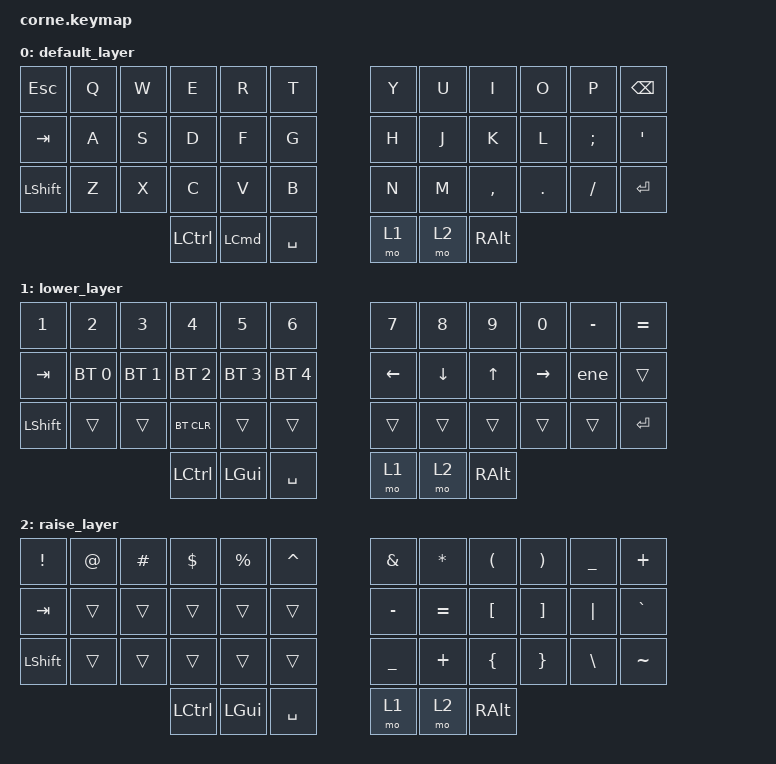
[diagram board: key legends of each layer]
/*
 * Copyright (c) 2020 The ZMK Contributors
 *
 * SPDX-License-Identifier: MIT
 */

#include <behaviors.dtsi>
#include <dt-bindings/zmk/bt.h>
#include <dt-bindings/zmk/keys.h>
#include <dt-bindings/zmk/keys.h>

/ {
    macros {
        ene: ene {
            compatible = "zmk,behavior-macro";
            #binding-cells = <0>;
            bindings =
                <&macro_press>,
                <&kp RIGHT_ALT &kp N &kt RIGHT_ALT &kp N>,
                <&macro_release>;

            label = "ENE";
        };
    };

    keymap {
        compatible = "zmk,keymap";

        default_layer {
            // -----------------------------------------------------------------------------------------
            // |  TAB |  Q  |  W  |  E  |  R  |  T  |   |  Y  |  U   |  I  |  O  |  P  | BSPC |
            // | CTRL |  A  |  S  |  D  |  F  |  G  |   |  H  |  J   |  K  |  L  |  ;  |  '   |
            // | SHFT |  Z  |  X  |  C  |  V  |  B  |   |  N  |  M   |  ,  |  .  |  /  | ESC  |
            //                    | GUI | LWR | SPC |   | ENT | RSE  | ALT |

            bindings = <
&kp ESCAPE  &kp Q  &kp W  &kp E             &kp R             &kp T        &kp Y  &kp U  &kp I      &kp O    &kp P     &kp BSPC
&kp TAB     &kp A  &kp S  &kp D             &kp F             &kp G        &kp H  &kp J  &kp K      &kp L    &kp SEMI  &kp SQT
&kp LSHFT   &kp Z  &kp X  &kp C             &kp V             &kp B        &kp N  &kp M  &kp COMMA  &kp DOT  &kp FSLH  &kp ENTER
                          &kp LEFT_CONTROL  &kp LEFT_COMMAND  &kp SPACE    &mo 1  &mo 2  &kp RALT
            >;
        };

        lower_layer {
            // -----------------------------------------------------------------------------------------
            // |  TAB |  1  |  2  |  3  |  4  |  5  |   |  6  |  7  |  8  |  9  |  0  | BSPC |
            // | BTCLR| BT1 | BT2 | BT3 | BT4 | BT5 |   | LFT | DWN |  UP | RGT |     |      |
            // | SHFT |     |     |     |     |     |   |     |     |     |     |     |      |
            //                    | GUI |     | SPC |   | ENT |     | ALT |

            bindings = <
&kp NUMBER_1  &kp NUMBER_2  &kp NUMBER_3  &kp NUMBER_4      &kp N5        &kp NUMBER_6    &kp N7    &kp N8    &kp N9    &kp N0     &kp MINUS  &kp EQUAL
&kp TAB       &bt BT_SEL 0  &bt BT_SEL 1  &bt BT_SEL 2      &bt BT_SEL 3  &bt BT_SEL 4    &kp LEFT  &kp DOWN  &kp UP    &kp RIGHT  &ene       &trans
&kp LSHFT     &trans        &trans        &bt BT_CLR        &trans        &trans          &trans    &trans    &trans    &trans     &trans     &kp ENTER
                                          &kp LEFT_CONTROL  &kp LEFT_GUI  &kp SPACE       &mo 1     &mo 2     &kp RALT
            >;
        };

        raise_layer {
            // -----------------------------------------------------------------------------------------
            // |  TAB |  !  |  @  |  #  |  $  |  %  |   |  ^  |  &  |  *  |  (  |  )  | BSPC |
            // | CTRL |     |     |     |     |     |   |  -  |  =  |  [  |  ]  |  \  |  `   |
            // | SHFT |     |     |     |     |     |   |  _  |  +  |  {  |  }  | "|" |  ~   |
            //                    | GUI |     | SPC |   | ENT |     | ALT |

            bindings = <
&kp EXCLAMATION  &kp AT_SIGN  &kp HASH  &kp DOLLAR        &kp PERCENT  &kp CARET    &kp AMPERSAND  &kp ASTERISK  &kp LEFT_PARENTHESIS  &kp RIGHT_PARENTHESIS  &kp UNDERSCORE  &kp PLUS
&kp TAB          &trans       &trans    &trans            &trans       &trans       &kp MINUS      &kp EQUAL     &kp LBKT              &kp RBKT               &kp PIPE        &kp GRAVE
&kp LSHFT        &trans       &trans    &trans            &trans       &trans       &kp UNDER      &kp PLUS      &kp LBRC              &kp RBRC               &kp BACKSLASH   &kp TILDE
                                        &kp LEFT_CONTROL  &kp LGUI     &kp SPACE    &mo 1          &mo 2         &kp RALT
            >;
        };
    };
};
